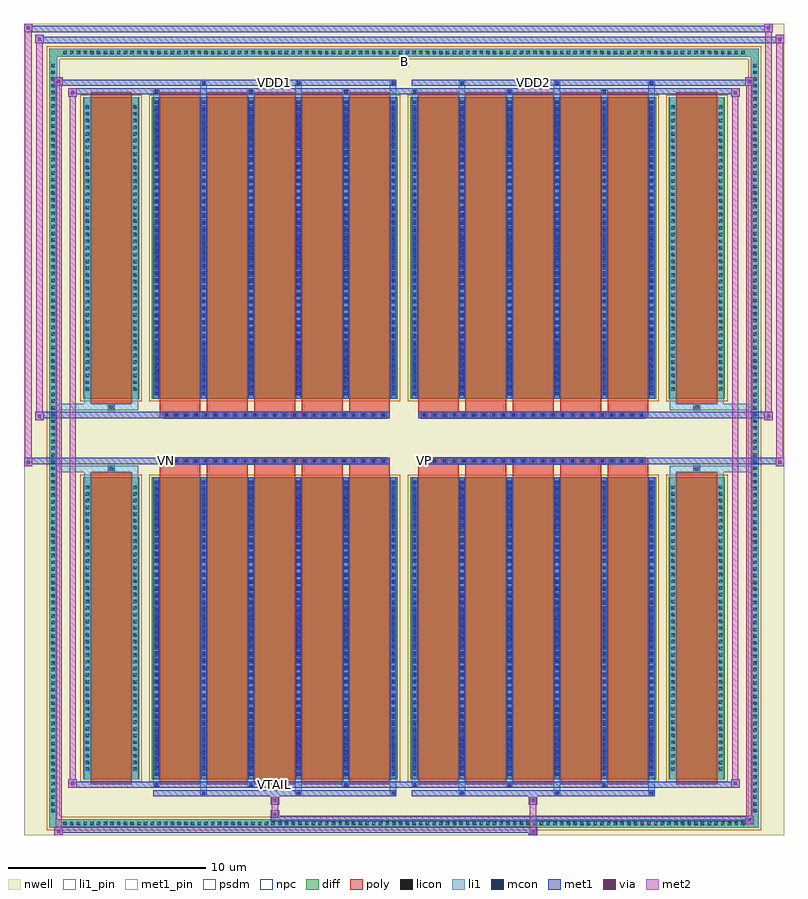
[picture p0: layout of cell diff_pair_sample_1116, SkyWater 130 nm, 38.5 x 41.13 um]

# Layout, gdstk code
import gdstk
lib = gdstk.Library(unit=1e-6, precision=5e-09)
def R(c, l, rs):  # rectangles x0, y0, x1, y1
    for r in rs: c.add(gdstk.rectangle(r[:2], r[2:], *l))
def A(c, l, x, y, w, h, nx, ny, dx, dy):  # array of equal rectangles
    R(c, l, [(x+i*dx, y+j*dy, x+i*dx+w, y+j*dy+h) for i in range(nx) for j in range(ny)])
def P(c, l, *ps):  # polygons
    for p in ps: c.add(gdstk.Polygon(p, *l))
nwell = (64, 20)
diff = (65, 20)
poly = (66, 20)
licon = (66, 44)
li1_pin = (67, 16)
li1 = (67, 20)
mcon = (67, 44)
met1_pin = (68, 16)
met1 = (68, 20)
via = (68, 44)
met2 = (69, 20)
psdm = (94, 20)
npc = (95, 20)

diff_pair_sample_1116 = lib.new_cell('diff_pair_sample_1116')
R(diff_pair_sample_1116, nwell, [(-19.25,-20.13,19.25,21), (-16.57,-18.32,-0.01,-0.8), (0.01,-18.32,16.57,-0.8), (-16.57,0.8,-0.01,18.32), (0.01,0.8,16.57,18.32)])
A(diff_pair_sample_1116, diff, -17.375, -19.73, 0.41, 0.41, 102, 2, 0.34, 39.05)
A(diff_pair_sample_1116, diff, -17.98, -19.075, 0.41, 0.41, 1, 112, 0, 0.34)
A(diff_pair_sample_1116, diff, 17.57, -19.075, 0.41, 0.41, 1, 112, 0, 0.34)
R(diff_pair_sample_1116, diff, [(-17.375,-19.73,17.375,-19.32), (-17.98,-19.075,-17.57,19.075), (17.57,-19.075,17.98,19.075), (-16.26,-17.275,-13.41,-1.985), (-12.77,-17.275,-0.32,-1.985), (0.32,-17.275,12.77,-1.985), (13.41,-17.275,16.26,-1.985), (-16.26,1.985,-13.41,17.275), (-12.77,1.985,-0.32,17.275), (0.32,1.985,12.77,17.275), (13.41,1.985,16.26,17.275), (-17.375,19.32,17.375,19.73)])
P(diff_pair_sample_1116, diff, [(17.98,19.73),(-17.98,19.73),(-17.98,-19.32),(-17.57,-19.32),(-17.57,19.32),(17.57,19.32),(17.57,-19.32),(-17.57,-19.32),(-17.98,-19.32),(-17.98,-19.73),(17.98,-19.73)])
A(diff_pair_sample_1116, poly, -12.38, -17.525, 2.07, 15.79, 5, 2, 2.4, 19.26)
A(diff_pair_sample_1116, poly, 0.71, -17.525, 2.07, 15.79, 5, 2, 2.4, 19.26)
A(diff_pair_sample_1116, poly, -12.38, -1.735, 2.07, 0.405, 5, 2, 2.4, 3.065)
A(diff_pair_sample_1116, poly, 0.71, -1.735, 2.07, 0.405, 5, 2, 2.4, 3.065)
A(diff_pair_sample_1116, poly, -12.21, -1.33, 0.33, 0.33, 23, 2, 0.5, 2.33)
A(diff_pair_sample_1116, poly, 0.88, -1.33, 0.33, 0.33, 23, 2, 0.5, 2.33)
R(diff_pair_sample_1116, poly, [(-15.87,-17.525,-13.8,-1.735), (13.8,-17.525,15.87,-1.735), (-15,-1.735,-14.67,-1.405), (-15,-1.735,-14.67,-1.405), (14.67,-1.735,15,-1.405), (14.67,-1.735,15,-1.405), (-12.38,-1.33,-0.71,-1), (0.71,-1.33,12.38,-1), (-12.38,1,-0.71,1.33), (0.71,1,12.38,1.33), (-15,1.405,-14.67,1.735), (-15,1.405,-14.67,1.735), (14.67,1.405,15,1.735), (14.67,1.405,15,1.735), (-15.87,1.735,-13.8,17.525), (13.8,1.735,15.87,17.525)])
A(diff_pair_sample_1116, licon, -17.255, -19.61, 0.17, 0.17, 102, 2, 0.34, 39.05)
A(diff_pair_sample_1116, licon, -17.86, -18.955, 0.17, 0.17, 1, 112, 0, 0.34)
A(diff_pair_sample_1116, licon, 17.69, -18.955, 0.17, 0.17, 1, 112, 0, 0.34)
A(diff_pair_sample_1116, licon, -16.12, -16.855, 0.17, 0.17, 1, 43, 0, 0.34)
A(diff_pair_sample_1116, licon, -13.72, -16.855, 0.17, 0.17, 1, 43, 0, 0.34)
A(diff_pair_sample_1116, licon, -12.63, -16.855, 0.17, 0.17, 6, 43, 2.4, 0.34)
A(diff_pair_sample_1116, licon, 0.46, -16.855, 0.17, 0.17, 6, 43, 2.4, 0.34)
A(diff_pair_sample_1116, licon, 13.55, -16.855, 0.17, 0.17, 1, 43, 0, 0.34)
A(diff_pair_sample_1116, licon, 15.95, -16.855, 0.17, 0.17, 1, 43, 0, 0.34)
A(diff_pair_sample_1116, licon, -12.13, -1.25, 0.17, 0.17, 23, 2, 0.5, 2.33)
A(diff_pair_sample_1116, licon, 0.96, -1.25, 0.17, 0.17, 23, 2, 0.5, 2.33)
A(diff_pair_sample_1116, licon, -16.12, 2.405, 0.17, 0.17, 1, 43, 0, 0.34)
A(diff_pair_sample_1116, licon, -13.72, 2.405, 0.17, 0.17, 1, 43, 0, 0.34)
A(diff_pair_sample_1116, licon, -12.63, 2.405, 0.17, 0.17, 6, 43, 2.4, 0.34)
A(diff_pair_sample_1116, licon, 0.46, 2.405, 0.17, 0.17, 6, 43, 2.4, 0.34)
A(diff_pair_sample_1116, licon, 13.55, 2.405, 0.17, 0.17, 1, 43, 0, 0.34)
A(diff_pair_sample_1116, licon, 15.95, 2.405, 0.17, 0.17, 1, 43, 0, 0.34)
R(diff_pair_sample_1116, licon, [(-14.92,-1.655,-14.75,-1.485), (14.75,-1.655,14.92,-1.485), (-14.92,1.485,-14.75,1.655), (14.75,1.485,14.92,1.655)])
R(diff_pair_sample_1116, li1_pin, [(-0.25,18.82,0.25,19.32)])
A(diff_pair_sample_1116, li1, -17.335, -19.69, 0.33, 0.33, 102, 2, 0.34, 39.05)
A(diff_pair_sample_1116, li1, -17.94, -19.035, 0.33, 0.33, 1, 112, 0, 0.34)
A(diff_pair_sample_1116, li1, 17.61, -19.035, 0.33, 0.33, 1, 112, 0, 0.34)
A(diff_pair_sample_1116, li1, -10.31, -18.08, 0.33, 0.805, 3, 2, 4.8, 35.355)
A(diff_pair_sample_1116, li1, -10.23, -18.08, 0.17, 0.17, 3, 2, 4.8, 35.99)
A(diff_pair_sample_1116, li1, 2.78, -18.08, 0.33, 0.805, 3, 2, 4.8, 35.355)
A(diff_pair_sample_1116, li1, 2.86, -18.08, 0.17, 0.17, 3, 2, 4.8, 35.99)
A(diff_pair_sample_1116, li1, -12.71, -17.65, 0.33, 0.375, 3, 2, 4.8, 34.925)
A(diff_pair_sample_1116, li1, -12.63, -17.65, 0.17, 0.17, 3, 2, 4.8, 35.13)
A(diff_pair_sample_1116, li1, 0.38, -17.65, 0.33, 0.375, 3, 2, 4.8, 34.925)
A(diff_pair_sample_1116, li1, 0.46, -17.65, 0.17, 0.17, 3, 2, 4.8, 35.13)
A(diff_pair_sample_1116, li1, -12.71, -17.275, 0.33, 15.29, 6, 2, 2.4, 19.26)
A(diff_pair_sample_1116, li1, 0.38, -17.275, 0.33, 15.29, 6, 2, 2.4, 19.26)
A(diff_pair_sample_1116, li1, -12.63, -17.095, 0.17, 0.17, 6, 42, 2.4, 0.36)
A(diff_pair_sample_1116, li1, -12.63, -17.095, 0.17, 14.93, 6, 2, 2.4, 19.26)
A(diff_pair_sample_1116, li1, 0.46, -17.095, 0.17, 0.17, 6, 42, 2.4, 0.36)
A(diff_pair_sample_1116, li1, 0.46, -17.095, 0.17, 14.93, 6, 2, 2.4, 19.26)
A(diff_pair_sample_1116, li1, -16.2, -16.935, 0.33, 0.33, 1, 43, 0, 0.34)
A(diff_pair_sample_1116, li1, -13.8, -16.935, 0.33, 0.33, 1, 43, 0, 0.34)
A(diff_pair_sample_1116, li1, -12.71, -16.935, 0.33, 0.33, 6, 43, 2.4, 0.34)
A(diff_pair_sample_1116, li1, 0.38, -16.935, 0.33, 0.33, 6, 43, 2.4, 0.34)
A(diff_pair_sample_1116, li1, 13.47, -16.935, 0.33, 0.33, 1, 43, 0, 0.34)
A(diff_pair_sample_1116, li1, 15.87, -16.935, 0.33, 0.33, 1, 43, 0, 0.34)
A(diff_pair_sample_1116, li1, -12.21, -1.33, 0.33, 0.33, 23, 2, 0.5, 2.33)
A(diff_pair_sample_1116, li1, 0.88, -1.33, 0.33, 0.33, 23, 2, 0.5, 2.33)
A(diff_pair_sample_1116, li1, -12.63, 2.165, 0.17, 0.17, 6, 42, 2.4, 0.36)
A(diff_pair_sample_1116, li1, 0.46, 2.165, 0.17, 0.17, 6, 42, 2.4, 0.36)
A(diff_pair_sample_1116, li1, -16.2, 2.325, 0.33, 0.33, 1, 43, 0, 0.34)
A(diff_pair_sample_1116, li1, -13.8, 2.325, 0.33, 0.33, 1, 43, 0, 0.34)
A(diff_pair_sample_1116, li1, -12.71, 2.325, 0.33, 0.33, 6, 43, 2.4, 0.34)
A(diff_pair_sample_1116, li1, 0.38, 2.325, 0.33, 0.33, 6, 43, 2.4, 0.34)
A(diff_pair_sample_1116, li1, 13.47, 2.325, 0.33, 0.33, 1, 43, 0, 0.34)
A(diff_pair_sample_1116, li1, 15.87, 2.325, 0.33, 0.33, 1, 43, 0, 0.34)
R(diff_pair_sample_1116, li1, [(-17.98,-19.73,-17.57,-19.32), (-17.98,-19.73,-17.57,-19.32), (-17.57,-19.73,17.57,-19.32), (17.57,-19.73,17.98,-19.32), (17.57,-19.73,17.98,-19.32), (-17.98,-19.32,-17.57,19.32), (17.57,-19.32,17.98,19.32), (-16.2,-17.275,-15.87,-1.985), (-13.8,-17.275,-13.47,-1.985), (13.47,-17.275,13.8,-1.985), (15.87,-17.275,16.2,-1.985), (-16.2,-1.985,-15.87,-1.405), (-13.8,-1.985,-13.47,-1.405), (13.47,-1.985,13.8,-1.405), (15.87,-1.985,16.2,-1.405), (-17.98,-1.735,-15,-1.405), (-16.2,-1.735,-15,-1.405), (-15,-1.735,-14.67,-1.405), (-14.67,-1.735,-13.47,-1.405), (13.47,-1.735,14.67,-1.405), (14.67,-1.735,15,-1.405), (14.67,-1.735,17.98,-1.405), (15,-1.735,16.2,-1.405), (-17.98,1.405,-15,1.735), (-16.2,1.405,-15,1.735), (-16.2,1.405,-15.87,1.985), (-15,1.405,-14.67,1.735), (-14.67,1.405,-13.47,1.735), (-13.8,1.405,-13.47,1.985), (13.47,1.405,14.67,1.735), (13.47,1.405,13.8,1.985), (14.67,1.405,15,1.735), (14.67,1.405,17.98,1.735), (15,1.405,16.2,1.735), (15.87,1.405,16.2,1.985), (-16.2,1.985,-15.87,17.275), (-13.8,1.985,-13.47,17.275), (13.47,1.985,13.8,17.275), (15.87,1.985,16.2,17.275), (-17.98,19.32,-17.57,19.73), (-17.98,19.32,-17.57,19.73), (-17.57,19.32,17.57,19.73), (17.57,19.32,17.98,19.73), (17.57,19.32,17.98,19.73)])
A(diff_pair_sample_1116, mcon, -10.23, -18.08, 0.17, 0.17, 3, 2, 4.8, 35.99)
A(diff_pair_sample_1116, mcon, 2.86, -18.08, 0.17, 0.17, 3, 2, 4.8, 35.99)
A(diff_pair_sample_1116, mcon, -12.63, -17.65, 0.17, 0.17, 3, 2, 4.8, 35.13)
A(diff_pair_sample_1116, mcon, 0.46, -17.65, 0.17, 0.17, 3, 2, 4.8, 35.13)
A(diff_pair_sample_1116, mcon, -12.63, -17.095, 0.17, 0.17, 6, 42, 2.4, 0.36)
A(diff_pair_sample_1116, mcon, 0.46, -17.095, 0.17, 0.17, 6, 42, 2.4, 0.36)
A(diff_pair_sample_1116, mcon, -12.13, -1.25, 0.17, 0.17, 23, 2, 0.5, 2.33)
A(diff_pair_sample_1116, mcon, 0.96, -1.25, 0.17, 0.17, 23, 2, 0.5, 2.33)
A(diff_pair_sample_1116, mcon, -12.63, 2.165, 0.17, 0.17, 6, 42, 2.4, 0.36)
A(diff_pair_sample_1116, mcon, 0.46, 2.165, 0.17, 0.17, 6, 42, 2.4, 0.36)
R(diff_pair_sample_1116, met1_pin, [(-6.68,-17.69,-6.41,-17.42), (-12.18,-1.29,-11.91,-1.02), (0.91,-1.29,1.18,-1.02), (-6.68,17.87,-6.41,18.14), (6.41,17.87,6.68,18.14)])
A(diff_pair_sample_1116, met1, -10.29, -18.14, 0.29, 0.29, 3, 2, 4.8, 35.99)
A(diff_pair_sample_1116, met1, 2.8, -18.14, 0.29, 0.29, 3, 2, 4.8, 35.99)
A(diff_pair_sample_1116, met1, -12.69, -17.71, 0.29, 0.29, 3, 2, 4.8, 35.13)
A(diff_pair_sample_1116, met1, 0.4, -17.71, 0.29, 0.29, 3, 2, 4.8, 35.13)
A(diff_pair_sample_1116, met1, -12.69, -17.275, 0.29, 15.29, 6, 2, 2.4, 19.26)
A(diff_pair_sample_1116, met1, 0.4, -17.275, 0.29, 15.29, 6, 2, 2.4, 19.26)
A(diff_pair_sample_1116, met1, -12.69, -17.155, 0.29, 0.29, 6, 42, 2.4, 0.36)
A(diff_pair_sample_1116, met1, 0.4, -17.155, 0.29, 0.29, 6, 42, 2.4, 0.36)
A(diff_pair_sample_1116, met1, -12.19, -1.31, 0.29, 0.29, 23, 2, 0.5, 2.33)
A(diff_pair_sample_1116, met1, 0.9, -1.31, 0.29, 0.29, 23, 2, 0.5, 2.33)
A(diff_pair_sample_1116, met1, -12.69, 2.105, 0.29, 0.29, 6, 42, 2.4, 0.36)
A(diff_pair_sample_1116, met1, 0.4, 2.105, 0.29, 0.29, 6, 42, 2.4, 0.36)
R(diff_pair_sample_1116, met1, [(-17.71,-20.13,-17.28,-19.7), (6.33,-20.13,6.76,-19.7), (-17.71,-19.99,6.76,-19.7), (17.28,-19.56,17.71,-19.13), (-6.76,-19.42,17.71,-19.13), (-6.76,-19.28,-6.33,-18.85), (-6.76,-18.57,-6.33,-18.14), (6.33,-18.57,6.76,-18.14), (-12.69,-18.14,-0.4,-17.85), (0.4,-18.14,12.69,-17.85), (-17,-17.71,-16.57,-17.28), (-17,-17.71,-12.69,-17.42), (-12.69,-17.71,-0.4,-17.42), (-0.4,-17.71,0.4,-17.42), (0.4,-17.71,12.69,-17.42), (12.69,-17.71,17,-17.42), (16.57,-17.71,17,-17.28), (-19.25,-1.43,-18.82,-1), (18.82,-1.43,19.25,-1), (-19.25,-1.33,-0.71,-1), (-12.38,-1.33,-0.71,-1), (0.71,-1.33,12.38,-1), (0.71,-1.33,19.25,-1), (-18.68,0.9,-18.25,1.33), (18.25,0.9,18.68,1.33), (-18.68,1,-12.38,1.33), (-12.38,1,-0.71,1.33), (0.71,1,12.38,1.33), (12.38,1,18.68,1.33), (-17,17.28,-16.57,17.71), (16.57,17.28,17,17.71), (-17,17.42,-12.69,17.71), (-12.69,17.42,-0.4,17.71), (-0.4,17.42,0.4,17.71), (0.4,17.42,12.69,17.71), (12.69,17.42,17,17.71), (-17.71,17.85,-17.28,18.28), (-17.71,17.85,-12.69,18.14), (-12.69,17.85,-0.4,18.14), (0.4,17.85,12.69,18.14), (12.69,17.85,17.71,18.14), (17.28,17.85,17.71,18.28), (-18.68,20,-18.25,20.43), (-18.68,20,-16.57,20.33), (-16.57,20,16.57,20.33), (16.57,20,19.25,20.33), (18.82,20,19.25,20.43), (-19.25,20.57,-18.82,21), (-19.25,20.57,-16.57,20.9), (-16.57,20.57,16.57,20.9), (16.57,20.57,18.68,20.9), (18.25,20.57,18.68,21)])
R(diff_pair_sample_1116, via, [(-17.57,-19.99,-17.42,-19.84), (6.47,-19.99,6.62,-19.84), (17.42,-19.42,17.57,-19.27), (-6.62,-19.14,-6.47,-18.99), (-6.62,-18.43,-6.47,-18.28), (6.47,-18.43,6.62,-18.28), (-16.86,-17.57,-16.71,-17.42), (16.71,-17.57,16.86,-17.42), (-19.11,-1.29,-18.96,-1.14), (18.96,-1.29,19.11,-1.14), (-18.54,1.04,-18.39,1.19), (18.39,1.04,18.54,1.19), (-16.86,17.42,-16.71,17.57), (16.71,17.42,16.86,17.57), (-17.57,17.99,-17.42,18.14), (17.42,17.99,17.57,18.14), (-18.54,20.14,-18.39,20.29), (18.96,20.14,19.11,20.29), (-19.11,20.71,-18.96,20.86), (18.39,20.71,18.54,20.86)])
R(diff_pair_sample_1116, met2, [(-17.71,-20.13,-17.28,-19.7), (-17.64,-20.13,-17.35,18.28), (-17.35,-20.13,-17.28,-19.7), (-17.66,-20.08,-17.33,-19.75), (6.38,-20.08,6.71,-19.75), (6.38,-19.75,6.71,-18.52), (17.28,-19.56,17.71,-19.13), (17.35,-19.56,17.64,18.28), (17.64,-19.56,17.71,-19.13), (17.33,-19.51,17.66,-19.18), (-6.71,-19.23,-6.38,-18.9), (-6.71,-18.9,-6.38,-18.52), (-6.71,-18.52,-6.38,-18.19), (6.38,-18.52,6.71,-18.19), (-17,-17.71,-16.57,-17.28), (-16.93,-17.71,-16.64,17.71), (-16.64,-17.71,-16.57,-17.28), (16.57,-17.71,17,-17.28), (16.64,-17.71,16.93,17.71), (16.93,-17.71,17,-17.28), (-16.95,-17.66,-16.62,-17.33), (16.62,-17.66,16.95,-17.33), (-19.25,-1.43,-18.82,-1), (-19.2,-1.43,-18.87,21), (-18.87,-1.43,-18.82,-1), (18.82,-1.43,19.25,-1), (18.87,-1.43,19.2,20.43), (19.2,-1.43,19.25,-1), (-19.2,-1.38,-18.87,-1.05), (18.87,-1.38,19.2,-1.05), (-18.68,0.9,-18.25,1.33), (-18.63,0.9,-18.3,20.43), (-18.3,0.9,-18.25,1.33), (18.25,0.9,18.68,1.33), (18.3,0.9,18.63,21), (18.63,0.9,18.68,1.33), (-18.63,0.95,-18.3,1.28), (18.3,0.95,18.63,1.28), (-17,17.28,-16.57,17.71), (-16.64,17.28,-16.57,17.71), (16.57,17.28,17,17.71), (16.93,17.28,17,17.71), (-16.95,17.33,-16.62,17.66), (16.62,17.33,16.95,17.66), (-17.71,17.85,-17.28,18.28), (-17.35,17.85,-17.28,18.28), (17.28,17.85,17.71,18.28), (17.64,17.85,17.71,18.28), (-17.66,17.9,-17.33,18.23), (17.33,17.9,17.66,18.23), (-18.68,20,-18.25,20.43), (-18.3,20,-18.25,20.43), (18.82,20,19.25,20.43), (19.2,20,19.25,20.43), (-18.63,20.05,-18.3,20.38), (18.87,20.05,19.2,20.38), (-19.25,20.57,-18.82,21), (-18.87,20.57,-18.82,21), (18.25,20.57,18.68,21), (18.63,20.57,18.68,21), (-19.2,20.62,-18.87,20.95), (18.3,20.62,18.63,20.95)])
R(diff_pair_sample_1116, psdm, [(-16.39,-17.405,-13.28,-1.855), (-12.9,-17.405,-0.19,-1.855), (0.19,-17.405,12.9,-1.855), (13.28,-17.405,16.39,-1.855), (-16.39,1.855,-13.28,17.405), (-12.9,1.855,-0.19,17.405), (0.19,1.855,12.9,17.405), (13.28,1.855,16.39,17.405)])
P(diff_pair_sample_1116, psdm, [(18.11,19.86),(-18.11,19.86),(-18.11,-19.19),(-17.44,-19.19),(-17.44,19.19),(17.44,19.19),(17.44,-19.19),(-17.44,-19.19),(-18.11,-19.19),(-18.11,-19.86),(18.11,-19.86)])
A(diff_pair_sample_1116, npc, -12.23, -1.35, 0.37, 0.37, 23, 2, 0.5, 2.33)
A(diff_pair_sample_1116, npc, 0.86, -1.35, 0.37, 0.37, 23, 2, 0.5, 2.33)
R(diff_pair_sample_1116, npc, [(-15.02,-1.755,-14.65,-1.385), (14.65,-1.755,15.02,-1.385), (-12.23,-1.35,-11.36,-0.98), (-12.23,-1.35,-11.36,-0.98), (-11.73,-1.35,-10.86,-0.98), (-11.73,-1.35,-10.86,-0.98), (-11.23,-1.35,-10.36,-0.98), (-11.23,-1.35,-10.36,-0.98), (-10.73,-1.35,-9.86,-0.98), (-10.73,-1.35,-9.86,-0.98), (-10.23,-1.35,-9.36,-0.98), (-10.23,-1.35,-9.36,-0.98), (-9.73,-1.35,-8.86,-0.98), (-9.73,-1.35,-8.86,-0.98), (-9.23,-1.35,-8.36,-0.98), (-9.23,-1.35,-8.36,-0.98), (-8.73,-1.35,-7.86,-0.98), (-8.73,-1.35,-7.86,-0.98), (-8.23,-1.35,-7.36,-0.98), (-8.23,-1.35,-7.36,-0.98), (-7.73,-1.35,-6.86,-0.98), (-7.73,-1.35,-6.86,-0.98), (-7.23,-1.35,-6.36,-0.98), (-7.23,-1.35,-6.36,-0.98), (-6.73,-1.35,-5.86,-0.98), (-6.73,-1.35,-5.86,-0.98), (-6.23,-1.35,-5.36,-0.98), (-6.23,-1.35,-5.36,-0.98), (-5.73,-1.35,-4.86,-0.98), (-5.73,-1.35,-4.86,-0.98), (-5.23,-1.35,-4.36,-0.98), (-5.23,-1.35,-4.36,-0.98), (-4.73,-1.35,-3.86,-0.98), (-4.73,-1.35,-3.86,-0.98), (-4.23,-1.35,-3.36,-0.98), (-4.23,-1.35,-3.36,-0.98), (-3.73,-1.35,-2.86,-0.98), (-3.73,-1.35,-2.86,-0.98), (-3.23,-1.35,-2.36,-0.98), (-3.23,-1.35,-2.36,-0.98), (-2.73,-1.35,-1.86,-0.98), (-2.73,-1.35,-1.86,-0.98), (-2.23,-1.35,-1.36,-0.98), (-2.23,-1.35,-1.36,-0.98), (-1.73,-1.35,-0.86,-0.98), (-1.73,-1.35,-0.86,-0.98), (0.86,-1.35,1.73,-0.98), (0.86,-1.35,1.73,-0.98), (1.36,-1.35,2.23,-0.98), (1.36,-1.35,2.23,-0.98), (1.86,-1.35,2.73,-0.98), (1.86,-1.35,2.73,-0.98), (2.36,-1.35,3.23,-0.98), (2.36,-1.35,3.23,-0.98), (2.86,-1.35,3.73,-0.98), (2.86,-1.35,3.73,-0.98), (3.36,-1.35,4.23,-0.98), (3.36,-1.35,4.23,-0.98), (3.86,-1.35,4.73,-0.98), (3.86,-1.35,4.73,-0.98), (4.36,-1.35,5.23,-0.98), (4.36,-1.35,5.23,-0.98), (4.86,-1.35,5.73,-0.98), (4.86,-1.35,5.73,-0.98), (5.36,-1.35,6.23,-0.98), (5.36,-1.35,6.23,-0.98), (5.86,-1.35,6.73,-0.98), (5.86,-1.35,6.73,-0.98), (6.36,-1.35,7.23,-0.98), (6.36,-1.35,7.23,-0.98), (6.86,-1.35,7.73,-0.98), (6.86,-1.35,7.73,-0.98), (7.36,-1.35,8.23,-0.98), (7.36,-1.35,8.23,-0.98), (7.86,-1.35,8.73,-0.98), (7.86,-1.35,8.73,-0.98), (8.36,-1.35,9.23,-0.98), (8.36,-1.35,9.23,-0.98), (8.86,-1.35,9.73,-0.98), (8.86,-1.35,9.73,-0.98), (9.36,-1.35,10.23,-0.98), (9.36,-1.35,10.23,-0.98), (9.86,-1.35,10.73,-0.98), (9.86,-1.35,10.73,-0.98), (10.36,-1.35,11.23,-0.98), (10.36,-1.35,11.23,-0.98), (10.86,-1.35,11.73,-0.98), (10.86,-1.35,11.73,-0.98), (11.36,-1.35,12.23,-0.98), (11.36,-1.35,12.23,-0.98), (-12.23,0.98,-11.36,1.35), (-12.23,0.98,-11.36,1.35), (-11.73,0.98,-10.86,1.35), (-11.73,0.98,-10.86,1.35), (-11.23,0.98,-10.36,1.35), (-11.23,0.98,-10.36,1.35), (-10.73,0.98,-9.86,1.35), (-10.73,0.98,-9.86,1.35), (-10.23,0.98,-9.36,1.35), (-10.23,0.98,-9.36,1.35), (-9.73,0.98,-8.86,1.35), (-9.73,0.98,-8.86,1.35), (-9.23,0.98,-8.36,1.35), (-9.23,0.98,-8.36,1.35), (-8.73,0.98,-7.86,1.35), (-8.73,0.98,-7.86,1.35), (-8.23,0.98,-7.36,1.35), (-8.23,0.98,-7.36,1.35), (-7.73,0.98,-6.86,1.35), (-7.73,0.98,-6.86,1.35), (-7.23,0.98,-6.36,1.35), (-7.23,0.98,-6.36,1.35), (-6.73,0.98,-5.86,1.35), (-6.73,0.98,-5.86,1.35), (-6.23,0.98,-5.36,1.35), (-6.23,0.98,-5.36,1.35), (-5.73,0.98,-4.86,1.35), (-5.73,0.98,-4.86,1.35), (-5.23,0.98,-4.36,1.35), (-5.23,0.98,-4.36,1.35), (-4.73,0.98,-3.86,1.35), (-4.73,0.98,-3.86,1.35), (-4.23,0.98,-3.36,1.35), (-4.23,0.98,-3.36,1.35), (-3.73,0.98,-2.86,1.35), (-3.73,0.98,-2.86,1.35), (-3.23,0.98,-2.36,1.35), (-3.23,0.98,-2.36,1.35), (-2.73,0.98,-1.86,1.35), (-2.73,0.98,-1.86,1.35), (-2.23,0.98,-1.36,1.35), (-2.23,0.98,-1.36,1.35), (-1.73,0.98,-0.86,1.35), (-1.73,0.98,-0.86,1.35), (0.86,0.98,1.73,1.35), (0.86,0.98,1.73,1.35), (1.36,0.98,2.23,1.35), (1.36,0.98,2.23,1.35), (1.86,0.98,2.73,1.35), (1.86,0.98,2.73,1.35), (2.36,0.98,3.23,1.35), (2.36,0.98,3.23,1.35), (2.86,0.98,3.73,1.35), (2.86,0.98,3.73,1.35), (3.36,0.98,4.23,1.35), (3.36,0.98,4.23,1.35), (3.86,0.98,4.73,1.35), (3.86,0.98,4.73,1.35), (4.36,0.98,5.23,1.35), (4.36,0.98,5.23,1.35), (4.86,0.98,5.73,1.35), (4.86,0.98,5.73,1.35), (5.36,0.98,6.23,1.35), (5.36,0.98,6.23,1.35), (5.86,0.98,6.73,1.35), (5.86,0.98,6.73,1.35), (6.36,0.98,7.23,1.35), (6.36,0.98,7.23,1.35), (6.86,0.98,7.73,1.35), (6.86,0.98,7.73,1.35), (7.36,0.98,8.23,1.35), (7.36,0.98,8.23,1.35), (7.86,0.98,8.73,1.35), (7.86,0.98,8.73,1.35), (8.36,0.98,9.23,1.35), (8.36,0.98,9.23,1.35), (8.86,0.98,9.73,1.35), (8.86,0.98,9.73,1.35), (9.36,0.98,10.23,1.35), (9.36,0.98,10.23,1.35), (9.86,0.98,10.73,1.35), (9.86,0.98,10.73,1.35), (10.36,0.98,11.23,1.35), (10.36,0.98,11.23,1.35), (10.86,0.98,11.73,1.35), (10.86,0.98,11.73,1.35), (11.36,0.98,12.23,1.35), (11.36,0.98,12.23,1.35), (-15.02,1.385,-14.65,1.755), (14.65,1.385,15.02,1.755)])
diff_pair_sample_1116.add(gdstk.Label('VTAIL', (-6.545,-17.555), layer=68, texttype=5))
diff_pair_sample_1116.add(gdstk.Label('VN', (-12.045,-1.155), layer=68, texttype=5))
diff_pair_sample_1116.add(gdstk.Label('VP', (1.045,-1.155), layer=68, texttype=5))
diff_pair_sample_1116.add(gdstk.Label('B', (0,19.07), layer=67, texttype=5))
diff_pair_sample_1116.add(gdstk.Label('VDD2', (6.545,18.005), layer=68, texttype=5))
diff_pair_sample_1116.add(gdstk.Label('VDD1', (-6.545,18.005), layer=68, texttype=5))

lib.write_gds('diff_pair_sample_1116.gds')
